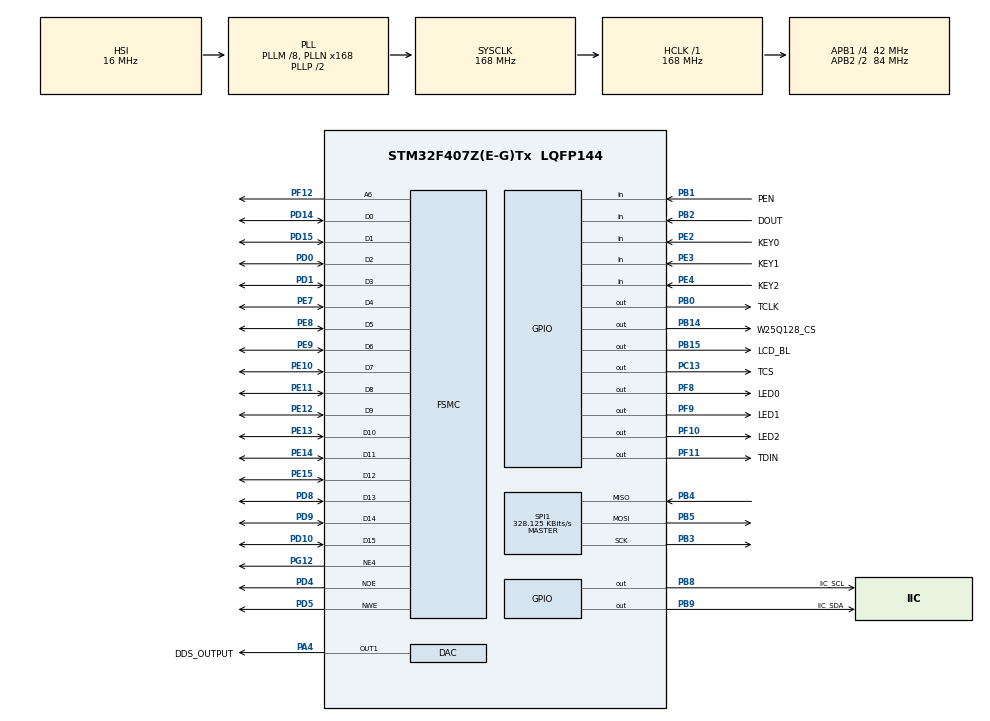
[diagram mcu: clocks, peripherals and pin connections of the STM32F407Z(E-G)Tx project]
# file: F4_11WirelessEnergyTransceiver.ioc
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PH0-OSC_IN.Signal=RCC_OSC_IN
PF10.GPIO_ModeDefaultOutputPP=GPIO_MODE_OUTPUT_PP
SH.FSMC_D1_DA1.0=FSMC_D1,16b-d1
SPI1.VirtualType=VM_MASTER
PB14.GPIO_Label=W25Q128_CS
SH.FSMC_NWE.0=FSMC_NWE,Lcd1
PE8.GPIO_PuPd=GPIO_PULLUP
PE10.GPIO_PuPd=GPIO_PULLUP
PD10.GPIO_PuPd=GPIO_PULLUP
FSMC.ExtendedBusTurnAroundDuration1=0
PF10.GPIO_PuPd=GPIO_PULLUP
PF8.PinState=GPIO_PIN_SET
PB3.GPIO_Speed=GPIO_SPEED_FREQ_VERY_HIGH
RCC.SYSCLKSource=RCC_SYSCLKSOURCE_PLLCLK
SPI1.Direction=SPI_DIRECTION_2LINES
PD4.Signal=FSMC_NOE
RCC.APB2TimFreq_Value=168000000
SPI1.CalculateBaudRate=328.125 KBits/s
PD0.Signal=FSMC_D2_DA2
PD8.Signal=FSMC_D13_DA13
PF10.GPIO_Label=LED2
PB2.Signal=GPIO_Input
PB3.Mode=Full_Duplex_Master
PC13-ANTI_TAMP.Signal=GPIO_Output
SH.FSMC_D10_DA10.0=FSMC_D10,16b-d1
PF8.GPIO_ModeDefaultOutputPP=GPIO_MODE_OUTPUT_PP
PE9.Signal=FSMC_D6_DA6
PB1.GPIO_Label=PEN
NVIC.TIM2_IRQn=true\:0\:1\:false\:false\:true\:true\:true
PE4.GPIO_Label=KEY2
PE2.Signal=GPIO_Input
PD14.GPIO_PuPd=GPIO_PULLUP
FSMC.BusTurnAroundDuration1=0
PE10.Signal=FSMC_D7_DA7
SH.FSMC_D5_DA5.0=FSMC_D5,16b-d1
PB2.GPIO_PuPd=GPIO_PULLUP
Mcu.Package=LQFP144
PB9.Signal=GPIO_Output
PB1.Signal=GPIO_Input
PB14.GPIO_PuPd=GPIO_PULLUP
PB9.GPIO_PuPd=GPIO_PULLUP
PB5.GPIO_Speed=GPIO_SPEED_FREQ_VERY_HIGH
RCC.APB2CLKDivider=RCC_HCLK_DIV2
SH.FSMC_D3_DA3.0=FSMC_D3,16b-d1
PG12.GPIO_PuPd=GPIO_PULLUP
RCC.APB1TimFreq_Value=84000000
PF9.GPIO_PuPd=GPIO_PULLUP
PD9.GPIO_PuPd=GPIO_PULLUP
PA4.GPIO_Label=DDS_OUTPUT
PD15.Signal=FSMC_D1_DA1
PE12.GPIO_PuPd=GPIO_PULLUP
PG12.Signal=FSMC_NE4
FSMC.ExtendedAddressSetupTime1=9
PC13-ANTI_TAMP.GPIO_Label=TCS
PB8.GPIO_PuPd=GPIO_PULLUP
PD1.Signal=FSMC_D3_DA3
SH.FSMC_D9_DA9.0=FSMC_D9,16b-d1
SPI1.CLKPhase=SPI_PHASE_2EDGE
PD1.GPIO_PuPd=GPIO_PULLUP
RCC.APB1CLKDivider=RCC_HCLK_DIV4
SH.FSMC_D8_DA8.0=FSMC_D8,16b-d1
PF8.GPIO_Label=LED0
PF11.GPIO_Speed=GPIO_SPEED_FREQ_VERY_HIGH
PD10.Signal=FSMC_D15_DA15
PB8.GPIO_Label=IIC_SCL
PB14.GPIO_Speed=GPIO_SPEED_FREQ_VERY_HIGH
FSMC.DataSetupTime1=60
PB1.GPIO_Mode=GPIO_MODE_INPUT
PB4.GPIO_PuPd=GPIO_PULLUP
PB14.Signal=GPIO_Output
PE2.GPIO_PuPd=GPIO_PULLUP
SH.FSMC_D7_DA7.0=FSMC_D7,16b-d1
PE14.Signal=FSMC_D11_DA11
PE15.Signal=FSMC_D12_DA12
PB15.GPIO_Label=LCD_BL
PE8.Signal=FSMC_D5_DA5
SPI1.Mode=SPI_MODE_MASTER
PE3.GPIO_PuPd=GPIO_PULLUP
TIM2.Period=4294967295
PA13.Mode=Serial_Wire
PE4.GPIO_PuPd=GPIO_PULLUP
PA4.Signal=COMP_DAC1_group
PB5.Signal=SPI1_MOSI
PB5.GPIO_PuPd=GPIO_PULLUP
SH.FSMC_D15_DA15.0=FSMC_D15,16b-d1
ProjectManager.HeapSize=0x200
PD0.GPIO_PuPd=GPIO_PULLUP
PF9.Signal=GPIO_Output
PF9.GPIO_ModeDefaultOutputPP=GPIO_MODE_OUTPUT_PP
NVIC.PriorityGroup=NVIC_PRIORITYGROUP_2
PF12.GPIO_PuPd=GPIO_PULLUP
PE3.Signal=GPIO_Input
PF10.PinState=GPIO_PIN_SET
PB0.Signal=GPIO_Output
Mcu.Family=STM32F4
FSMC.AddressSetupTime1=0x0f
PE7.GPIO_PuPd=GPIO_PULLUP
RCC.CortexFreq_Value=168000000
SH.FSMC_A6.0=FSMC_A6,A6_1
SH.FSMC_D0_DA0.0=FSMC_D0,16b-d1
PF9.GPIO_Speed=GPIO_SPEED_FREQ_VERY_HIGH
PB0.GPIO_Label=TCLK
PD8.GPIO_PuPd=GPIO_PULLUP
PB15.Signal=GPIO_Output
ProjectManager.StackSize=0x400
VP_TIM7_VS_ClockSourceINT.Mode=Enable_Timer
SPI1.CLKPolarity=SPI_POLARITY_HIGH
PE11.GPIO_PuPd=GPIO_PULLUP
PB1.GPIO_PuPd=GPIO_PULLUP
RCC.HCLKFreq_Value=168000000
PF11.GPIO_Label=TDIN
PF12.Signal=FSMC_A6
TIM7.Period=84-1
RCC.AHBFreq_Value=168000000
PH0-OSC_IN.Mode=HSE-External-Oscillator
RCC.HSE_VALUE=8000000
PE13.GPIO_PuPd=GPIO_PULLUP
PB3.GPIO_PuPd=GPIO_PULLUP
PB4.Mode=Full_Duplex_Master
PE13.Signal=FSMC_D10_DA10
SH.FSMC_D14_DA14.0=FSMC_D14,16b-d1
PF8.GPIO_PuPd=GPIO_PULLUP
PA14.Mode=Serial_Wire
PF11.Signal=GPIO_Output
PB5.Mode=Full_Duplex_Master
SH.FSMC_D6_DA6.0=FSMC_D6,16b-d1
PE4.Signal=GPIO_Input
SH.FSMC_D4_DA4.0=FSMC_D4,16b-d1
PH1-OSC_OUT.Mode=HSE-External-Oscillator
PB15.GPIO_PuPd=GPIO_PULLUP
PD15.GPIO_PuPd=GPIO_PULLUP
SH.FSMC_D13_DA13.0=FSMC_D13,16b-d1
PF8.Signal=GPIO_Output
PB9.GPIO_Speed=GPIO_SPEED_FREQ_VERY_HIGH
SH.FSMC_D2_DA2.0=FSMC_D2,16b-d1
PE7.Signal=FSMC_D4_DA4
SPI1.BaudRatePrescaler=SPI_BAUDRATEPRESCALER_256
PE2.GPIO_Label=KEY0
NVIC.TIM7_IRQn=true\:3\:0\:true\:false\:true\:true\:true
PB4.Signal=SPI1_MISO
SH.COMP_DAC1_group.0=DAC_OUT1,DAC_OUT1
SH.FSMC_D12_DA12.0=FSMC_D12,16b-d1
PB9.GPIO_Label=IIC_SDA
FSMC.ExtendedMode1=FSMC_EXTENDED_MODE_ENABLE
PF10.GPIO_Speed=GPIO_SPEED_FREQ_VERY_HIGH
PD9.Signal=FSMC_D14_DA14
PD5.Signal=FSMC_NWE
PB0.GPIO_Speed=GPIO_SPEED_FREQ_VERY_HIGH
PA13.Signal=SYS_JTMS-SWDIO
PD4.GPIO_PuPd=GPIO_PULLUP
PB14.PinState=GPIO_PIN_SET
ProjectManager.TargetToolchain=STM32CubeIDE
PF9.PinState=GPIO_PIN_SET
PF9.GPIO_Label=LED1
PE11.Signal=FSMC_D8_DA8
RCC.LSE_VALUE=32768
FSMC.ExtendedDataSetupTime1=8
TIM7.Prescaler=1000-1
board=custom
PG12.Mode=NorPsramChipSelect4_1
RCC.VCOOutputFreq_Value=336000000
PB4.GPIO_Speed=GPIO_SPEED_FREQ_VERY_HIGH
RCC.APB2Freq_Value=84000000
VP_TIM2_VS_ClockSourceINT.Mode=Internal
PF10.Signal=GPIO_Output
PB15.GPIO_Speed=GPIO_SPEED_FREQ_MEDIUM
PH1-OSC_OUT.Signal=RCC_OSC_OUT
PD5.GPIO_PuPd=GPIO_PULLUP
PE14.GPIO_PuPd=GPIO_PULLUP
Mcu.Name=STM32F407Z(E-G)Tx
PE12.Signal=FSMC_D9_DA9
PD14.Signal=FSMC_D0_DA0
RCC.48MHZClocksFreq_Value=84000000
PB3.Signal=SPI1_SCK
RCC.SYSCLKFreq_VALUE=168000000
PA14.Signal=SYS_JTCK-SWCLK
PE15.GPIO_PuPd=GPIO_PULLUP
PB2.GPIO_Label=DOUT
SH.FSMC_D11_DA11.0=FSMC_D11,16b-d1
SH.FSMC_NOE.0=FSMC_NOE,Lcd1
RCC.HSI_VALUE=16000000
RCC.PLLM=8
RCC.PLLN=168
PF8.GPIO_Speed=GPIO_SPEED_FREQ_VERY_HIGH
PB8.Signal=GPIO_Output
PE3.GPIO_Label=KEY1
RCC.APB1Freq_Value=42000000
PB8.GPIO_Speed=GPIO_SPEED_FREQ_VERY_HIGH
PB0.GPIO_PuPd=GPIO_PULLUP
PE9.GPIO_PuPd=GPIO_PULLUP

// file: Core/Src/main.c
/* USER CODE BEGIN Header */
/**
  ******************************************************************************
  * @file           : main.c
  * @brief          : Main program body
  ******************************************************************************
  * @attention
  *
  * <h2><center>&copy; Copyright (c) 2021 STMicroelectronics.
  * All rights reserved.</center></h2>
  *
  * This software component is licensed by ST under BSD 3-Clause license,
  * the "License"; You may not use this file except in compliance with the
  * License. You may obtain a copy of the License at:
  *                        opensource.org/licenses/BSD-3-Clause
  *
  ******************************************************************************
  */
/* USER CODE END Header */
#include "main.h"
#include "dac.h"
#include "spi.h"
#include "tim.h"
#include "gpio.h"
#include "fsmc.h"

/* USER CODE BEGIN Includes */
#include "base.h"
#include "lcd.h"
#include "text.h"
#include "touch.h"
#include "w25qxx.h"
/* USER CODE END Includes */

/* USER CODE BEGIN PD */
#define TP_CHECK(x0,y0,x1,y1) tp_dev.x[0] > x0 && tp_dev.y[0] > y0 && tp_dev.x[0] < x1 && tp_dev.y[0] < y1
/* USER CODE END PD */

void SystemClock_Config(void);

/* USER CODE BEGIN 0 */
extern uint16_t TP_PRES_TIME;
extern uint16_t Amplitude;
extern uint32_t ARR;
extern uint8_t TP_PRES_FACK;
extern uint8_t TP_PRES_EVET;
/* USER CODE END 0 */

int main(void)
{
  /* USER CODE BEGIN 1 */
  u16 ct=0;
  u16 P_Amplitude = 0;
  u32 P_ARR       = 0;
  /* USER CODE END 1 */

  /* MCU Configuration--------------------------------------------------------*/

  /* Reset of all peripherals, Initializes the Flash interface and the Systick. */
  HAL_Init();

  /* Configure the system clock */
  SystemClock_Config();

  /* Initialize all configured peripherals */
  MX_GPIO_Init();
  MX_FSMC_Init();
  MX_DAC_Init();
  MX_TIM7_Init();
  MX_SPI1_Init();
  MX_TIM2_Init();
  /* USER CODE BEGIN 2 */
  delay_init(168);
  HAL_DAC_Start(&hdac,DAC1_CHANNEL_1);
  HAL_TIM_Base_Start_IT(&htim2);
  HAL_TIM_Base_Start_IT(&htim7);
  W25QXX_Init();
  LCD_Init();
  font_init();
  tp_dev.init();

	W25QXX_Read((u8 *)(&Amplitude),0x0000f000,2);
  W25QXX_Read((u8 *)(&ARR),0x0000f010,4);
	//Amplitude = 1000;
	//ARR = 680;
  P_Amplitude = Amplitude;
  P_ARR = ARR;

	delay_ms(10);
	HAL_TIM_Base_DeInit(&htim2);
	htim2.Init.Period = ARR;
	HAL_TIM_Base_Init(&htim2);

  POINT_COLOR=RED;

  Show_Str_Mid(20, 10,  (uint8_t *)"无线能量传输装置", 24, 20);
  Show_Str_Mid(56, 40,  (uint8_t *)"信号源部分", 24, 20);
  Show_Str_Mid(48, 80,  (uint8_t *)"频率:   .    KHz", 16, 20);
  Show_Str_Mid(48, 100, (uint8_t *)"幅值:        mV", 16, 20);
  Show_Str_Mid(52, 140, (uint8_t *)"自动装载值:", 16, 20);
  Show_Str_Mid(52, 180, (uint8_t *)" DA输出值 :", 16, 20);

  LCD_ShowNum(88,  80, 84000000/ARR/1000, 3, 16);
  LCD_ShowNum(120, 80, 84000000/ARR%1000, 3, 16);
  LCD_ShowNum(108, 100, Amplitude*3300/4096, 4, 16);
  LCD_ShowNum(150, 140, ARR, 4, 16);
  LCD_ShowNum(150, 180, Amplitude, 4, 16);

  ct = 140;
  LCD_Fill( 28,   ct,  48, ct+16, GRAY);
  LCD_Fill( 32, ct+8,  44,  ct+9, GREEN);
  LCD_Fill(192,   ct, 212, ct+16, GRAY);
  LCD_Fill(196, ct+8, 208,  ct+9, RED);
  LCD_Fill(202, ct+4, 203, ct+12, RED);

  ct = 180;
  LCD_Fill( 28,   ct,  48, ct+16, GRAY);
  LCD_Fill( 32, ct+8,  44,  ct+9, GREEN);
  LCD_Fill(192,   ct, 212, ct+16, GRAY);
  LCD_Fill(196, ct+8, 208,  ct+9, RED);
  LCD_Fill(202, ct+4, 203, ct+12, RED);
  /* USER CODE END 2 */

  /* Infinite loop */
  while (1)
  {

    /* USER CODE BEGIN 3 */

	  tp_dev.scan(0);
	  if(tp_dev.sta & TP_PRES_DOWN)
	  {
	    if(TP_PRES_TIME == 0 || (TP_PRES_TIME > 200 && TP_PRES_TIME%20 == 0))
	    {
	  		if(!TP_PRES_EVET) //如果该tick没有触屏事件
	  		{
          TP_PRES_EVET = 1;
          TP_PRES_FACK = 1;
	  		  if(TP_CHECK(28,140,48,156))
	  		  {
	  		  	ARR = ARR<=50?ARR:ARR-1;
	  		  	LCD_ShowNum(150, 140, ARR, 4, 16);
	  		  }
	  		  if(TP_CHECK(192,140,212,156))
	  		  {
	  		  	ARR = ARR>=1000?ARR:ARR+1;
	  		  	LCD_ShowNum(150, 140, ARR, 4, 16);
	  		  }
	  		  if(TP_CHECK(28,180,48,196))
	  		  {
	  		  	Amplitude = Amplitude==0?0:Amplitude-1;
	  		  	LCD_ShowNum(150, 180, Amplitude, 4, 16);
	  		  }
	  		  if(TP_CHECK(192,180,212,196))
	  		  {
	  		  	Amplitude = Amplitude==4095?4095:Amplitude+1;
	  		  	LCD_ShowNum(150, 180, Amplitude, 4, 16);
	  		  }
	  		}
	    }
	  }
	  else
	  {
	    //if(tp_dev.sta & TP_PRES_FACK){}
	    TP_PRES_TIME = 0;
      TP_PRES_FACK = 0;
	  	TP_PRES_EVET = 0;

	    if(P_Amplitude != Amplitude)
	    {
	    	P_Amplitude = Amplitude;
				LCD_ShowNum(108, 100, Amplitude*3300/4096, 4, 16);
				W25QXX_Write((u8 *)(&Amplitude),0x0000f000,2);
	    }
	    if(P_ARR != ARR)
	    {
	  	  P_ARR = ARR;
				LCD_ShowNum(88,  80, 84000000/ARR/1000, 3, 16);
				LCD_ShowNum(120, 80, 84000000/ARR%1000, 3, 16);
				W25QXX_Write((u8 *)(&ARR),0x0000f010,4);
				__HAL_TIM_DISABLE(&htim2);
				htim2.Instance->ARR = ARR;
				__HAL_TIM_ENABLE(&htim2);
	    }
	  }
  }
  /* USER CODE END 3 */
}

void SystemClock_Config(void)
{
  RCC_OscInitTypeDef RCC_OscInitStruct = {0};
  RCC_ClkInitTypeDef RCC_ClkInitStruct = {0};

  /** Configure the main internal regulator output voltage
  */
  __HAL_RCC_PWR_CLK_ENABLE();
  __HAL_PWR_VOLTAGESCALING_CONFIG(PWR_REGULATOR_VOLTAGE_SCALE1);
  /** Initializes the RCC Oscillators according to the specified parameters
  * in the RCC_OscInitTypeDef structure.
  */
  RCC_OscInitStruct.OscillatorType = RCC_OSCILLATORTYPE_HSI;
  RCC_OscInitStruct.HSIState = RCC_HSI_ON;
  RCC_OscInitStruct.HSICalibrationValue = RCC_HSICALIBRATION_DEFAULT;
  RCC_OscInitStruct.PLL.PLLState = RCC_PLL_ON;
  RCC_OscInitStruct.PLL.PLLSource = RCC_PLLSOURCE_HSI;
  RCC_OscInitStruct.PLL.PLLM = 8;
  RCC_OscInitStruct.PLL.PLLN = 168;
  RCC_OscInitStruct.PLL.PLLP = RCC_PLLP_DIV2;
  RCC_OscInitStruct.PLL.PLLQ = 4;
  if (HAL_RCC_OscConfig(&RCC_OscInitStruct) != HAL_OK)
  {
    Error_Handler();
  }
  /** Initializes the CPU, AHB and APB buses clocks
  */
  RCC_ClkInitStruct.ClockType = RCC_CLOCKTYPE_HCLK|RCC_CLOCKTYPE_SYSCLK
                              |RCC_CLOCKTYPE_PCLK1|RCC_CLOCKTYPE_PCLK2;
  RCC_ClkInitStruct.SYSCLKSource = RCC_SYSCLKSOURCE_PLLCLK;
  RCC_ClkInitStruct.AHBCLKDivider = RCC_SYSCLK_DIV1;
  RCC_ClkInitStruct.APB1CLKDivider = RCC_HCLK_DIV4;
  RCC_ClkInitStruct.APB2CLKDivider = RCC_HCLK_DIV2;

  if (HAL_RCC_ClockConfig(&RCC_ClkInitStruct, FLASH_LATENCY_5) != HAL_OK)
  {
    Error_Handler();
  }
}

void Error_Handler(void)
{
  __disable_irq();
  while (1)
  {
  }
}

/************************ (C) COPYRIGHT STMicroelectronics *****END OF FILE****/
